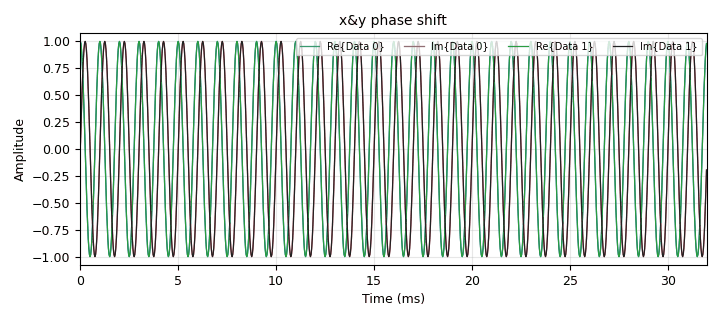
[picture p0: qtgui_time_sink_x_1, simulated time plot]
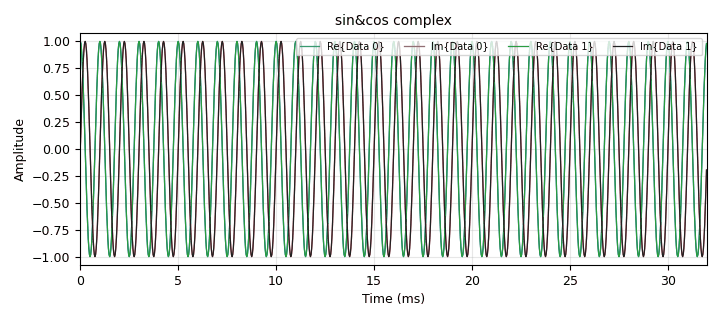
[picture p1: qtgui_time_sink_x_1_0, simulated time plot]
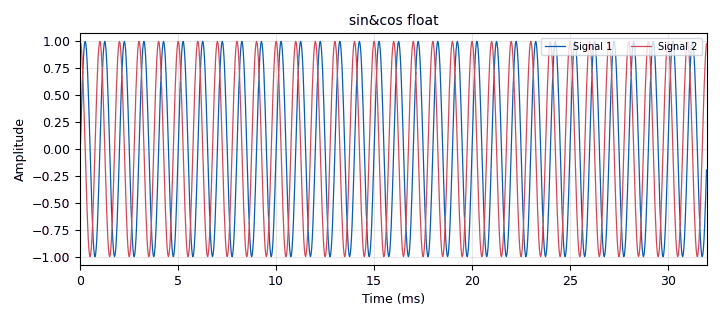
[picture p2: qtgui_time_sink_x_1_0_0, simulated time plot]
options:
  parameters:
    author: zzaw
    generate_options: qt_gui
    id: test_phase_shift
    output_language: python
    title: Not titled yet
  states: {}

blocks:
- name: phase_sig_src_x
  id: variable_qtgui_range
  parameters:
    start: '-1'
    step: '1e-2'
    stop: '1'
    value: '0'
  states: {}
- name: phase_sig_src_y
  id: variable_qtgui_range
  parameters:
    start: '-1'
    step: '1e-2'
    stop: '1'
    value: '0'
  states: {}
- name: pi
  id: variable
  parameters:
    value: '3.141592653589793238462643'
  states: {}
- name: samp_rate
  id: variable
  parameters:
    value: '32000'
  states: {}
- name: analog_sig_source_x_0
  id: analog_sig_source_x
  parameters:
    amp: '1'
    freq: '1000'
    offset: '0'
    phase: '0'
    samp_rate: samp_rate
    type: complex
    waveform: analog.GR_SIN_WAVE
  states: {}
- name: analog_sig_source_x_0_0
  id: analog_sig_source_x
  parameters:
    amp: '1'
    freq: '1000'
    offset: '0'
    phase: '0'
    samp_rate: samp_rate
    type: complex
    waveform: analog.GR_COS_WAVE
  states: {}
- name: analog_sig_source_x_0_0_0
  id: analog_sig_source_x
  parameters:
    amp: '1'
    freq: '1000'
    offset: '0'
    phase: '0'
    samp_rate: samp_rate
    type: float
    waveform: analog.GR_COS_WAVE
  states: {}
- name: analog_sig_source_x_0_1
  id: analog_sig_source_x
  parameters:
    amp: '1'
    freq: '1000'
    offset: '0'
    phase: '0'
    samp_rate: samp_rate
    type: float
    waveform: analog.GR_SIN_WAVE
  states: {}
- name: phase_shift_x
  id: blocks_phase_shift
  parameters:
    is_radians: 'True'
    shift: phase_sig_src_x*pi
  states: {}
- name: phase_shift_y
  id: blocks_phase_shift
  parameters:
    is_radians: 'True'
    shift: phase_sig_src_y*pi
  states: {}
- name: qtgui_time_sink_x_1
  id: qtgui_time_sink_x
  parameters:
    name: '"x&y phase shift"'
    nconnections: '2'
    size: '1024'
    srate: samp_rate
    type: complex
  states: {}
- name: qtgui_time_sink_x_1_0
  id: qtgui_time_sink_x
  parameters:
    name: '"sin&cos complex"'
    nconnections: '2'
    size: '1024'
    srate: samp_rate
    type: complex
  states: {}
- name: qtgui_time_sink_x_1_0_0
  id: qtgui_time_sink_x
  parameters:
    name: '"sin&cos float"'
    nconnections: '2'
    size: '1024'
    srate: samp_rate
    type: float
  states: {}
- name: sig_src_sincos
  id: analog_sig_source_x
  parameters:
    amp: '1'
    freq: '1000'
    offset: '0'
    phase: '0'
    samp_rate: samp_rate
    type: complex
    waveform: analog.GR_SIN_WAVE
  states: {}

connections:
- [analog_sig_source_x_0, '0', qtgui_time_sink_x_1_0, '0']
- [analog_sig_source_x_0_0, '0', qtgui_time_sink_x_1_0, '1']
- [analog_sig_source_x_0_0_0, '0', qtgui_time_sink_x_1_0_0, '1']
- [analog_sig_source_x_0_1, '0', qtgui_time_sink_x_1_0_0, '0']
- [phase_shift_x, '0', qtgui_time_sink_x_1, '0']
- [phase_shift_y, '0', qtgui_time_sink_x_1, '1']
- [sig_src_sincos, '0', phase_shift_x, '0']
- [sig_src_sincos, '0', phase_shift_y, '0']

metadata:
  file_format: 1
  grc_version: 3.10.4.0
